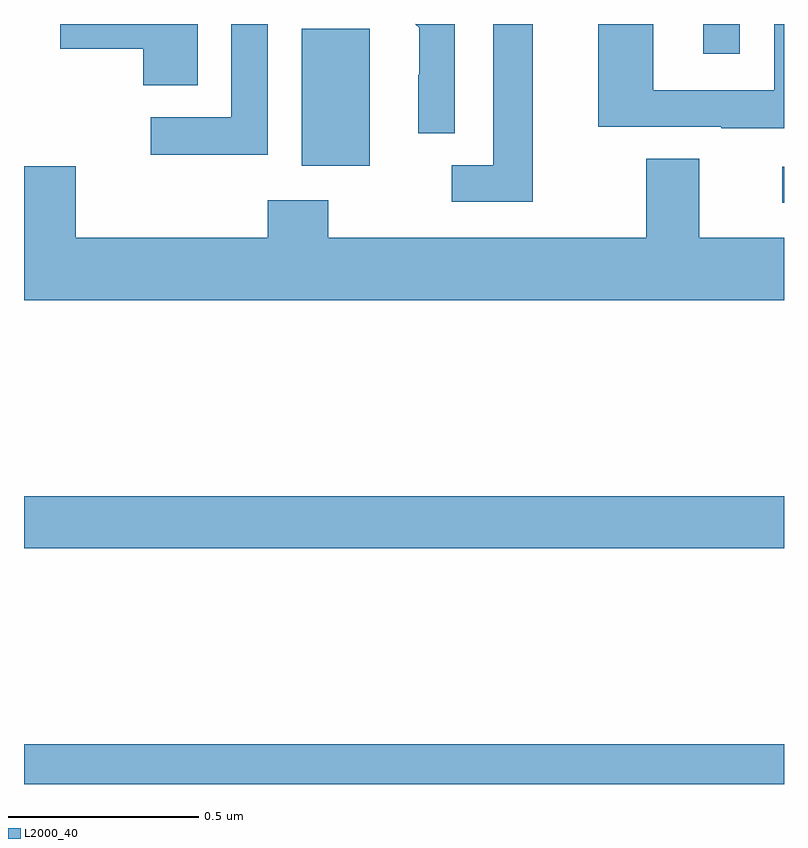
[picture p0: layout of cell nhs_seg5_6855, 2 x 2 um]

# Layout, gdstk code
import gdstk
lib = gdstk.Library(unit=1e-6, precision=1e-09)
def R(c, l, rs):  # rectangles x0, y0, x1, y1
    for r in rs: c.add(gdstk.rectangle(r[:2], r[2:], *l))
def P(c, l, *ps):  # polygons
    for p in ps: c.add(gdstk.Polygon(p, *l))
L2000_40 = (2000, 40)

nhs_seg5_6855 = lib.new_cell('nhs_seg5_6855')
R(nhs_seg5_6855, L2000_40, [(201,876.799,203,876.904), (201,877.42,203,877.556), (202.995,878.328,203,878.424), (201.731,878.426,201.91,878.787), (202.787,878.721,202.884,878.799)])
P(nhs_seg5_6855, L2000_40, [(201.457,878.799),(201.096,878.799),(201.096,878.734),(201.314,878.734),(201.314,878.638),(201.457,878.638)],
  [(203,878.799),(202.974,878.799),(202.974,878.625),(202.656,878.625),(202.656,878.799),(202.511,878.799),(202.511,878.529),(202.835,878.529),(202.835,878.525),(203,878.525)],
  [(201.642,878.799),(201.546,878.799),(201.546,878.553),(201.333,878.553),(201.333,878.455),(201.642,878.455)],
  [(202.134,878.799),(202.03,878.799),(202.04,878.789),(202.04,878.666),(202.038,878.666),(202.038,878.512),(202.134,878.512)],
  [(202.339,878.799),(202.235,878.799),(202.235,878.427),(202.125,878.427),(202.125,878.331),(202.339,878.331)],
  [(203,878.236),(202.777,878.236),(202.777,878.444),(202.637,878.444),(202.637,878.236),(201.801,878.236),(201.801,878.335),(201.641,878.335),(201.641,878.236),(201.136,878.236),(201.136,878.425),(201,878.425),(201,878.072),(203,878.072)])

lib.write_gds('nhs_seg5_6855.gds')
